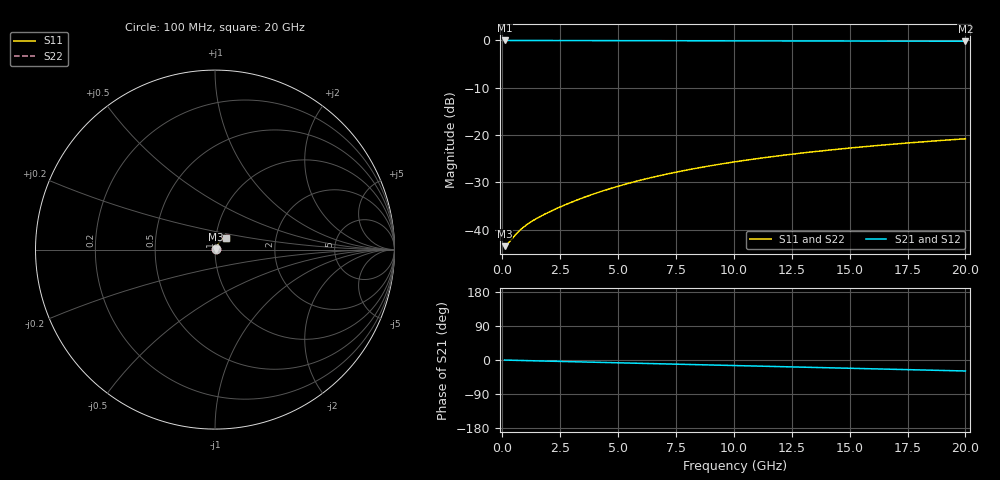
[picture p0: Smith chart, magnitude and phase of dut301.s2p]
! Touchstone file exported from HFSS 2026.1.0
!  File:  C:/ffzhzh/LocalFiles/Ansys_Project_Files/temp_train_BSMRDL_301_1783010482_46388.aedt
!  Generated:  12:42:36 AM Jul  3, 2026
!  Design:  BSMRDL
!  Project:  temp_train_BSMRDL_301_1783010482_46388
! Variables:
!  h_bsmrdl = 2.61um
!  h_ox = 20um
!  h_rdl = 5um
!  h_sub = 80um
!  h_tmrdl = 5um
!  h_tsv = 80um
!  h_via = 3um
!  l_bsmrdl = 518.6um
!  l_sub = 918.6um
!  l_tmrdl = 200um
!  m_sub = 200um
!  pitch = 14.53um
!  r_tsv = 6um
!  s_tmrdl = 10um
!  w_bsmrdl = 10.76um
!  w_sub = 500um
!  w_tmrdl = 12um
!  x_tsv_center1 = 206um
!  x_tsv_center2 = 735.36um
!  x_tsv_center3 = 947.36um
!  x_tsv_center4 = 1476.72um
!  x_tsv_center5 = 1688.72um
!  x_tsv_center6 = 2218.08um
# GHz S MA R 50.000000
! Terminal data exported
! Port[1] = BSM_RDL1_1_T1
! Port[2] = BSM_RDL1_1_T2
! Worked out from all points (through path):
!   200 points, 100 MHz to 20 GHz, reference 50 ohm
!   highest |S21| = -0.06 dB at 100 MHz (marker M1); lowest = -0.2 dB at 20 GHz (marker M2)
!   group delay of S21, straight-line fit = 4.02 ps
!   lowest |S11| = -43.5 dB at 100 MHz (marker M3), VSWR 1.01, Z = 50.7 + j0.0892 ohm
!   |S11| at or under -10 dB: start of sweep to end of sweep
!   |S22| runs from -43.5 to -20.8 dB; largest |S21 - S12| = 3.3e-15
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0.1  0.006671 7.6  0.9934 -0.2  0.9934 -0.2  0.006671 7.6
! Gamma 0 0 0 0
! Port Impedance 50 0 50 0
0.2  0.006956 14.4  0.9933 -0.3  0.9933 -0.3  0.006956 14.4
0.3  0.007378 20.2  0.9931 -0.5  0.9931 -0.5  0.007378 20.2
0.6  0.008971 31.0  0.9924 -1.0  0.9924 -1.0  0.008971 31.0
0.8  0.01002 35.0  0.9919 -1.3  0.9919 -1.3  0.01002 35.0
1  0.01099 37.9  0.9915 -1.6  0.9915 -1.6  0.01099 37.9
1.3  0.01232 41.4  0.991 -2.0  0.991 -2.0  0.01232 41.4
1.7  0.01398 45.3  0.9906 -2.6  0.9906 -2.6  0.01398 45.3
2.3  0.01647 49.9  0.9901 -3.5  0.9901 -3.5  0.01647 49.9
2.9  0.01905 53.5  0.9897 -4.4  0.9897 -4.4  0.01904 53.5
3.5  0.02172 56.0  0.9894 -5.3  0.9894 -5.3  0.02172 56.0
4.3  0.02538 58.3  0.9889 -6.4  0.9889 -6.4  0.02538 58.3
5.1  0.02912 59.6  0.9884 -7.6  0.9884 -7.6  0.02911 59.6
5.9  0.03288 60.3  0.9878 -8.8  0.9878 -8.8  0.03287 60.3
6.8  0.03709 60.6  0.9871 -10.1  0.9871 -10.1  0.03709 60.6
8.4  0.04449 60.1  0.9857 -12.4  0.9857 -12.4  0.04449 60.1
10.1  0.05214 58.9  0.9841 -14.9  0.9841 -14.9  0.05212 58.9
11.7  0.05907 57.3  0.9825 -17.2  0.9825 -17.2  0.05906 57.3
13.4  0.06616 55.5  0.9807 -19.6  0.9807 -19.6  0.06614 55.5
15  0.07255 53.6  0.9791 -21.9  0.9791 -21.9  0.07253 53.6
16.7  0.07907 51.6  0.9774 -24.3  0.9774 -24.3  0.07904 51.6
20  0.09091 47.5  0.9741 -29.0  0.9741 -29.0  0.09087 47.5
